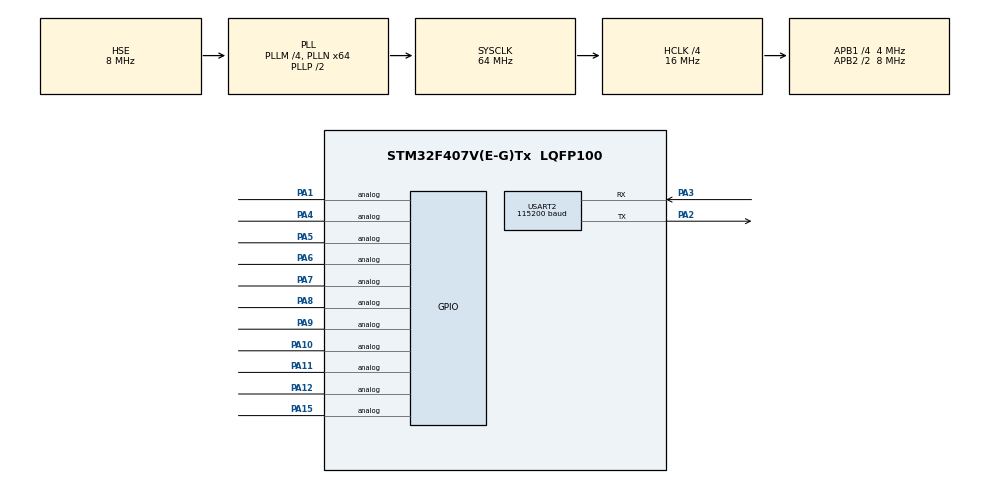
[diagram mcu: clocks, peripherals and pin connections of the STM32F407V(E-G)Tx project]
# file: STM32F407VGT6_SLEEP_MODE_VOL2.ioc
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Mcu.Family=STM32F4
Mcu.Name=STM32F407V(E-G)Tx
Mcu.Package=LQFP100
NVIC.PriorityGroup=NVIC_PRIORITYGROUP_4
NVIC.TIM1_UP_TIM10_IRQn=true\:0\:0\:false\:false\:true\:true\:true\:true
PA1.Signal=GPIO_Analog
PA10.Signal=GPIO_Analog
PA11.Signal=GPIO_Analog
PA12.Signal=GPIO_Analog
PA15.Signal=GPIO_Analog
PA2.Mode=Asynchronous
PA2.Signal=USART2_TX
PA3.Mode=Asynchronous
PA3.Signal=USART2_RX
PA4.Signal=GPIO_Analog
PA5.Signal=GPIO_Analog
PA6.Signal=GPIO_Analog
PA7.Signal=GPIO_Analog
PA8.Signal=GPIO_Analog
PA9.Signal=GPIO_Analog
PH0-OSC_IN.Mode=HSE-External-Oscillator
PH0-OSC_IN.Signal=RCC_OSC_IN
PH1-OSC_OUT.Mode=HSE-External-Oscillator
PH1-OSC_OUT.Signal=RCC_OSC_OUT
ProjectManager.HeapSize=0x200
ProjectManager.StackSize=0x400
ProjectManager.TargetToolchain=STM32CubeIDE
RCC.48MHZClocksFreq_Value=32000000
RCC.AHBCLKDivider=RCC_SYSCLK_DIV4
RCC.AHBFreq_Value=16000000
RCC.APB1CLKDivider=RCC_HCLK_DIV4
RCC.APB1Freq_Value=4000000
RCC.APB1TimFreq_Value=8000000
RCC.APB2CLKDivider=RCC_HCLK_DIV2
RCC.APB2Freq_Value=8000000
RCC.APB2TimFreq_Value=16000000
RCC.CortexFreq_Value=16000000
RCC.HCLKFreq_Value=16000000
RCC.HSE_VALUE=8000000
RCC.HSI_VALUE=16000000
RCC.LSE_VALUE=32768
RCC.PLLM=4
RCC.PLLN=64
RCC.PLLSourceVirtual=RCC_PLLSOURCE_HSE
RCC.SYSCLKFreq_VALUE=64000000
RCC.SYSCLKSource=RCC_SYSCLKSOURCE_PLLCLK
RCC.VCOOutputFreq_Value=128000000
TIM1.Period=1000-1
TIM1.Prescaler=16000-1
USART2.BaudRate=115200
USART2.VirtualMode=VM_ASYNC
VP_TIM1_VS_ClockSourceINT.Mode=Internal
board=custom

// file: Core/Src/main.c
/* USER CODE BEGIN Header */
/**
  ******************************************************************************
  * @file           : main.c
  * @brief          : Main program body
  ******************************************************************************
  * @attention
  *
  * Copyright (c) 2024 STMicroelectronics.
  * All rights reserved.
  *
  * This software is licensed under terms that can be found in the LICENSE file
  * in the root directory of this software component.
  * If no LICENSE file comes with this software, it is provided AS-IS.
  *
  ******************************************************************************
  */
/* USER CODE END Header */
#include "main.h"

TIM_HandleTypeDef htim1;

UART_HandleTypeDef huart2;

void SystemClock_Config(void);
static void MX_GPIO_Init(void);
static void MX_TIM1_Init(void);
static void MX_USART2_UART_Init(void);

/* USER CODE BEGIN 0 */
char tx_buffer[]="Sleep Mode Test\n";
int sleep_request=0;
void TIM1_UP_TIM10_IRQHandler(void)
{
  /* USER CODE BEGIN TIM1_UP_TIM10_IRQn 0 */

  /* USER CODE END TIM1_UP_TIM10_IRQn 0 */
  HAL_TIM_IRQHandler(&htim1);
  /* USER CODE BEGIN TIM1_UP_TIM10_IRQn 1 */

  __HAL_RCC_GPIOA_CLK_ENABLE(); //usart2 and gpıoa clocks are disabled att the beginning to maintain low power
  __HAL_RCC_USART2_CLK_ENABLE(); //thay are enabled at the beginning of transmission
  HAL_UART_Transmit(&huart2, (uint8_t*)tx_buffer, sizeof(tx_buffer), 200);
  __HAL_RCC_USART2_CLK_DISABLE(); //the clocks are turned off after transmission is done
  __HAL_RCC_GPIOA_CLK_DISABLE();
  sleep_request=1;

  /* USER CODE END TIM1_UP_TIM10_IRQn 1 */
}
/* USER CODE END 0 */

int main(void)
{

  /* MCU Configuration--------------------------------------------------------*/

  /* Reset of all peripherals, Initializes the Flash interface and the Systick. */
  HAL_Init();

  /* Configure the system clock */
  SystemClock_Config();

  /* Initialize all configured peripherals */
  MX_GPIO_Init();
  MX_TIM1_Init();
  MX_USART2_UART_Init();
  /* USER CODE BEGIN 2 */
  HAL_SuspendTick(); //stops systick for any unwanted cpu wake up
  HAL_TIM_Base_Start_IT(&htim1);
  RCC->APB2LPENR|=(1<<0);
  //HAL_PWR_EnableSleepOnExit(); //sleep mode is active. CPU will go into sleep mode at the end of each interrupt

  /* USER CODE END 2 */

  /* Infinite loop */
  while (1)
  {

    /* USER CODE BEGIN 3 */
	  if(sleep_request)
	  {
		  sleep_request=0;
		  //HAL_PWR_EnterSLEEPMode(PWR_MAINREGULATOR_ON, PWR_SLEEPENTRY_WFI);
		  HAL_PWR_EnterSTOPMode(PWR_MAINREGULATOR_ON, PWR_STOPENTRY_WFI);
	  }

  }
  /* USER CODE END 3 */
}

void SystemClock_Config(void)
{
  RCC_OscInitTypeDef RCC_OscInitStruct = {0};
  RCC_ClkInitTypeDef RCC_ClkInitStruct = {0};

  /** Configure the main internal regulator output voltage
  */
  __HAL_RCC_PWR_CLK_ENABLE();
  __HAL_PWR_VOLTAGESCALING_CONFIG(PWR_REGULATOR_VOLTAGE_SCALE1);

  /** Initializes the RCC Oscillators according to the specified parameters
  * in the RCC_OscInitTypeDef structure.
  */
  RCC_OscInitStruct.OscillatorType = RCC_OSCILLATORTYPE_HSE;
  RCC_OscInitStruct.HSEState = RCC_HSE_ON;
  RCC_OscInitStruct.PLL.PLLState = RCC_PLL_ON;
  RCC_OscInitStruct.PLL.PLLSource = RCC_PLLSOURCE_HSE;
  RCC_OscInitStruct.PLL.PLLM = 4;
  RCC_OscInitStruct.PLL.PLLN = 64;
  RCC_OscInitStruct.PLL.PLLP = RCC_PLLP_DIV2;
  RCC_OscInitStruct.PLL.PLLQ = 4;
  if (HAL_RCC_OscConfig(&RCC_OscInitStruct) != HAL_OK)
  {
    Error_Handler();
  }

  /** Initializes the CPU, AHB and APB buses clocks
  */
  RCC_ClkInitStruct.ClockType = RCC_CLOCKTYPE_HCLK|RCC_CLOCKTYPE_SYSCLK
                              |RCC_CLOCKTYPE_PCLK1|RCC_CLOCKTYPE_PCLK2;
  RCC_ClkInitStruct.SYSCLKSource = RCC_SYSCLKSOURCE_PLLCLK;
  RCC_ClkInitStruct.AHBCLKDivider = RCC_SYSCLK_DIV4;
  RCC_ClkInitStruct.APB1CLKDivider = RCC_HCLK_DIV4;
  RCC_ClkInitStruct.APB2CLKDivider = RCC_HCLK_DIV2;

  if (HAL_RCC_ClockConfig(&RCC_ClkInitStruct, FLASH_LATENCY_0) != HAL_OK)
  {
    Error_Handler();
  }
}

static void MX_TIM1_Init(void)
{

  TIM_ClockConfigTypeDef sClockSourceConfig = {0};
  TIM_MasterConfigTypeDef sMasterConfig = {0};

  htim1.Instance = TIM1; //tim1 is configured to create an interrupt per second
  htim1.Init.Prescaler = 16000-1;
  htim1.Init.CounterMode = TIM_COUNTERMODE_UP;
  htim1.Init.Period = 1000-1;
  htim1.Init.ClockDivision = TIM_CLOCKDIVISION_DIV1;
  htim1.Init.RepetitionCounter = 0;
  htim1.Init.AutoReloadPreload = TIM_AUTORELOAD_PRELOAD_DISABLE;
  if (HAL_TIM_Base_Init(&htim1) != HAL_OK)
  {
    Error_Handler();
  }
  sClockSourceConfig.ClockSource = TIM_CLOCKSOURCE_INTERNAL;
  if (HAL_TIM_ConfigClockSource(&htim1, &sClockSourceConfig) != HAL_OK)
  {
    Error_Handler();
  }
  sMasterConfig.MasterOutputTrigger = TIM_TRGO_RESET;
  sMasterConfig.MasterSlaveMode = TIM_MASTERSLAVEMODE_DISABLE;
  if (HAL_TIMEx_MasterConfigSynchronization(&htim1, &sMasterConfig) != HAL_OK)
  {
    Error_Handler();
  }

}

static void MX_USART2_UART_Init(void)
{

  huart2.Instance = USART2;
  huart2.Init.BaudRate = 115200;
  huart2.Init.WordLength = UART_WORDLENGTH_8B;
  huart2.Init.StopBits = UART_STOPBITS_1;
  huart2.Init.Parity = UART_PARITY_NONE;
  huart2.Init.Mode = UART_MODE_TX_RX;
  huart2.Init.HwFlowCtl = UART_HWCONTROL_NONE;
  huart2.Init.OverSampling = UART_OVERSAMPLING_16;
  if (HAL_UART_Init(&huart2) != HAL_OK)
  {
    Error_Handler();
  }
  /* USER CODE BEGIN USART2_Init 2 */
  __HAL_RCC_USART2_CLK_DISABLE(); //usart2 clcok is enabled in the HAL_UART_Init(&huart2) function. so the usart2 clock is  disabled at the beginning
  /* USER CODE END USART2_Init 2 */

}

static void MX_GPIO_Init(void)
{
  GPIO_InitTypeDef GPIO_InitStruct = {0};

  /* GPIO Ports Clock Enable */
  __HAL_RCC_GPIOH_CLK_ENABLE();

  /*Configure GPIO pins : PA1 PA4 PA5 PA6
                           PA7 PA8 PA9 PA10
                           PA11 PA12 PA15 */
  GPIO_InitStruct.Pin = GPIO_PIN_1|GPIO_PIN_4|GPIO_PIN_5|GPIO_PIN_6
                          |GPIO_PIN_7|GPIO_PIN_8|GPIO_PIN_9|GPIO_PIN_10
                          |GPIO_PIN_11|GPIO_PIN_12|GPIO_PIN_15;
  GPIO_InitStruct.Mode = GPIO_MODE_ANALOG;
  GPIO_InitStruct.Pull = GPIO_NOPULL;
  HAL_GPIO_Init(GPIOA, &GPIO_InitStruct);

}

void Error_Handler(void)
{
  __disable_irq();
  while (1)
  {
  }
}
